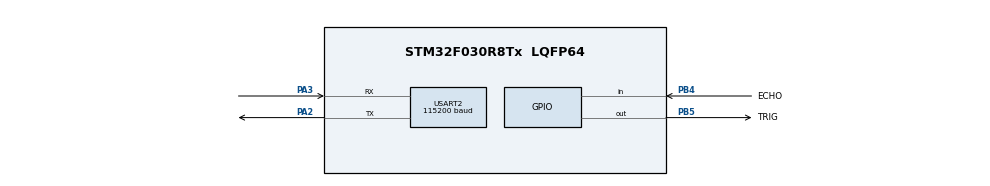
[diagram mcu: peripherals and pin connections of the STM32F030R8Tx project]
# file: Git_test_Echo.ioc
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Mcu.Family=STM32F0
Mcu.Name=STM32F030R8Tx
Mcu.Package=LQFP64
PA2.Mode=Asynchronous
PA2.Signal=USART2_TX
PA3.Mode=Asynchronous
PA3.Signal=USART2_RX
PB4.GPIO_Label=ECHO
PB4.Signal=GPIO_Input
PB5.GPIO_Label=TRIG
PB5.GPIO_PuPd=GPIO_PULLDOWN
PB5.Signal=GPIO_Output
ProjectManager.HeapSize=0x200
ProjectManager.StackSize=0x400
ProjectManager.TargetToolchain=STM32CubeIDE
TIM1.Prescaler=3
USART2.BaudRate=115200
USART2.VirtualMode-Asynchronous=VM_ASYNC
VP_TIM1_VS_ClockSourceINT.Mode=Internal
board=custom

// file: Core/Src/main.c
/* USER CODE BEGIN Header */
/**
  ******************************************************************************
  * @file           : main.c
  * @brief          : Main program body
  ******************************************************************************
  * @attention
  *
  * Copyright (c) 2025 STMicroelectronics.
  * All rights reserved.
  *
  * This software is licensed under terms that can be found in the LICENSE file
  * in the root directory of this software component.
  * If no LICENSE file comes with this software, it is provided AS-IS.
  *
  ******************************************************************************
  */
/* USER CODE END Header */
#include "main.h"

/* USER CODE BEGIN Includes */
#include <stdlib.h>
/* USER CODE END Includes */

TIM_HandleTypeDef htim1;

UART_HandleTypeDef huart2;

void SystemClock_Config(void);
static void MX_GPIO_Init(void);
static void MX_TIM1_Init(void);
static void MX_USART2_UART_Init(void);

/* USER CODE BEGIN 0 */
int _write(int file, char *ptr, int len)
{
  // Ez a sor mondja meg, hogy keressen egy huart2-t a kódban bárhol
  extern UART_HandleTypeDef huart2;

  HAL_UART_Transmit(&huart2, (uint8_t*)ptr, len, 10);
  return len;
}
/* USER CODE END 0 */

int main(void)
{

  /* MCU Configuration--------------------------------------------------------*/

  /* Reset of all peripherals, Initializes the Flash interface and the Systick. */
  HAL_Init();

  /* USER CODE BEGIN Init */
  void delay_us(uint32_t us);
  int get_distance(void);
  int compare(const void *a, const void *b);

  /* USER CODE END Init */

  /* Configure the system clock */
  SystemClock_Config();

  /* Initialize all configured peripherals */
  MX_GPIO_Init();
  MX_TIM1_Init();
  MX_USART2_UART_Init();
  /* USER CODE BEGIN 2 */
  uint32_t pmillis = 0;
  int measurements[5];

  HAL_TIM_Base_Start(&htim1);
  /* USER CODE END 2 */

  /* Infinite loop */
  while (1)
  {

    /* USER CODE BEGIN 3 */
	  if(HAL_GetTick() - pmillis > 200)
	  	{
	  		for(int i=0; i<4; i++)
	  		{
	  			__disable_irq();
	  			measurements[i] = get_distance();
	  			__enable_irq();
	  			HAL_Delay(10);
	  		}
	  		qsort(measurements, 5, sizeof(int), compare);

	  		float centimeter = (float)measurements[3] / 10;
	  		printf("tavolsag %.1f cm\r\n", centimeter);
	  		pmillis = HAL_GetTick();
	  	}
  }
  /* USER CODE END 3 */
}

void SystemClock_Config(void)
{
  RCC_OscInitTypeDef RCC_OscInitStruct = {0};
  RCC_ClkInitTypeDef RCC_ClkInitStruct = {0};

  /** Initializes the RCC Oscillators according to the specified parameters
  * in the RCC_OscInitTypeDef structure.
  */
  RCC_OscInitStruct.OscillatorType = RCC_OSCILLATORTYPE_HSI;
  RCC_OscInitStruct.HSIState = RCC_HSI_ON;
  RCC_OscInitStruct.HSICalibrationValue = RCC_HSICALIBRATION_DEFAULT;
  RCC_OscInitStruct.PLL.PLLState = RCC_PLL_NONE;
  if (HAL_RCC_OscConfig(&RCC_OscInitStruct) != HAL_OK)
  {
    Error_Handler();
  }

  /** Initializes the CPU, AHB and APB buses clocks
  */
  RCC_ClkInitStruct.ClockType = RCC_CLOCKTYPE_HCLK|RCC_CLOCKTYPE_SYSCLK
                              |RCC_CLOCKTYPE_PCLK1;
  RCC_ClkInitStruct.SYSCLKSource = RCC_SYSCLKSOURCE_HSI;
  RCC_ClkInitStruct.AHBCLKDivider = RCC_SYSCLK_DIV1;
  RCC_ClkInitStruct.APB1CLKDivider = RCC_HCLK_DIV1;

  if (HAL_RCC_ClockConfig(&RCC_ClkInitStruct, FLASH_LATENCY_0) != HAL_OK)
  {
    Error_Handler();
  }
}

static void MX_TIM1_Init(void)
{

  TIM_ClockConfigTypeDef sClockSourceConfig = {0};
  TIM_MasterConfigTypeDef sMasterConfig = {0};

  htim1.Instance = TIM1;
  htim1.Init.Prescaler = 3;
  htim1.Init.CounterMode = TIM_COUNTERMODE_UP;
  htim1.Init.Period = 65535;
  htim1.Init.ClockDivision = TIM_CLOCKDIVISION_DIV1;
  htim1.Init.RepetitionCounter = 0;
  htim1.Init.AutoReloadPreload = TIM_AUTORELOAD_PRELOAD_DISABLE;
  if (HAL_TIM_Base_Init(&htim1) != HAL_OK)
  {
    Error_Handler();
  }
  sClockSourceConfig.ClockSource = TIM_CLOCKSOURCE_INTERNAL;
  if (HAL_TIM_ConfigClockSource(&htim1, &sClockSourceConfig) != HAL_OK)
  {
    Error_Handler();
  }
  sMasterConfig.MasterOutputTrigger = TIM_TRGO_RESET;
  sMasterConfig.MasterSlaveMode = TIM_MASTERSLAVEMODE_DISABLE;
  if (HAL_TIMEx_MasterConfigSynchronization(&htim1, &sMasterConfig) != HAL_OK)
  {
    Error_Handler();
  }

}

static void MX_USART2_UART_Init(void)
{

  huart2.Instance = USART2;
  huart2.Init.BaudRate = 115200;
  huart2.Init.WordLength = UART_WORDLENGTH_8B;
  huart2.Init.StopBits = UART_STOPBITS_1;
  huart2.Init.Parity = UART_PARITY_NONE;
  huart2.Init.Mode = UART_MODE_TX_RX;
  huart2.Init.HwFlowCtl = UART_HWCONTROL_NONE;
  huart2.Init.OverSampling = UART_OVERSAMPLING_16;
  huart2.Init.OneBitSampling = UART_ONE_BIT_SAMPLE_DISABLE;
  huart2.AdvancedInit.AdvFeatureInit = UART_ADVFEATURE_NO_INIT;
  if (HAL_UART_Init(&huart2) != HAL_OK)
  {
    Error_Handler();
  }

}

static void MX_GPIO_Init(void)
{
  GPIO_InitTypeDef GPIO_InitStruct = {0};

  /* GPIO Ports Clock Enable */
  __HAL_RCC_GPIOA_CLK_ENABLE();
  __HAL_RCC_GPIOB_CLK_ENABLE();

  /*Configure GPIO pin Output Level */
  HAL_GPIO_WritePin(TRIG_GPIO_Port, TRIG_Pin, GPIO_PIN_RESET);

  /*Configure GPIO pin : ECHO_Pin */
  GPIO_InitStruct.Pin = ECHO_Pin;
  GPIO_InitStruct.Mode = GPIO_MODE_INPUT;
  GPIO_InitStruct.Pull = GPIO_NOPULL;
  HAL_GPIO_Init(ECHO_GPIO_Port, &GPIO_InitStruct);

  /*Configure GPIO pin : TRIG_Pin */
  GPIO_InitStruct.Pin = TRIG_Pin;
  GPIO_InitStruct.Mode = GPIO_MODE_OUTPUT_PP;
  GPIO_InitStruct.Pull = GPIO_PULLDOWN;
  GPIO_InitStruct.Speed = GPIO_SPEED_FREQ_LOW;
  HAL_GPIO_Init(TRIG_GPIO_Port, &GPIO_InitStruct);

}

/* USER CODE BEGIN 4 */
int compare(const void *a, const void *b)
{
	return *(int*)a - *(int*)b;
}

void delay_us(uint32_t us)
{
	__HAL_TIM_SET_COUNTER(&htim1, 0);
	while( __HAL_TIM_GET_COUNTER(&htim1) < us * 2);

}

int get_distance()
{
	int localTime;

	HAL_GPIO_WritePin(TRIG_GPIO_Port, TRIG_Pin, GPIO_PIN_SET);
	delay_us(10);
	HAL_GPIO_WritePin(TRIG_GPIO_Port, TRIG_Pin, GPIO_PIN_RESET);
	__HAL_TIM_SET_COUNTER(&htim1, 0);
	while(HAL_GPIO_ReadPin(ECHO_GPIO_Port, ECHO_Pin) == 0)
	{
		if(__HAL_TIM_GET_COUNTER(&htim1) > 30000)
			return 35505;
	}
	__HAL_TIM_SET_COUNTER(&htim1, 0);
	while(HAL_GPIO_ReadPin(ECHO_GPIO_Port, ECHO_Pin) == 1)
	{
		if(__HAL_TIM_GET_COUNTER(&htim1) > 65534)
			break;
	}
	localTime = __HAL_TIM_GET_COUNTER(&htim1);
	return (localTime * 10 )/ 117;

}
/* USER CODE END 4 */

void Error_Handler(void)
{
  __disable_irq();
  while (1)
  {
  }
}
